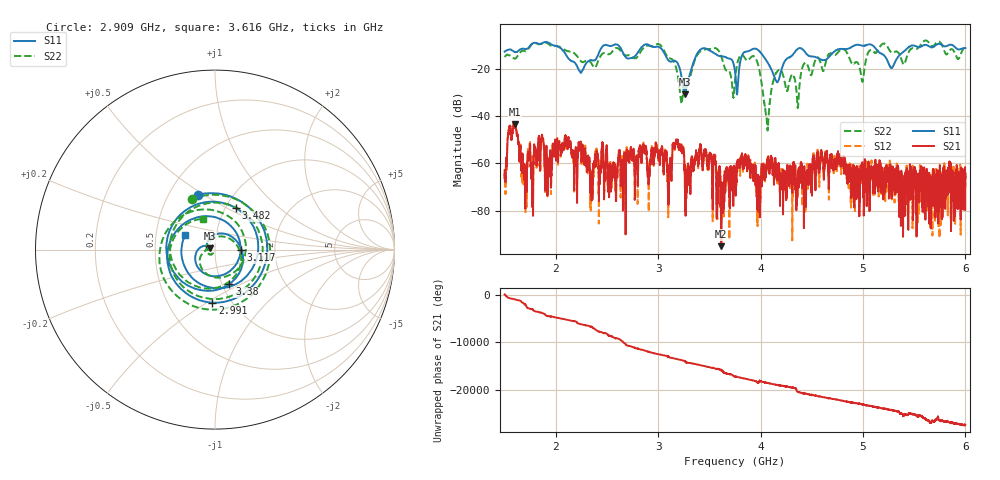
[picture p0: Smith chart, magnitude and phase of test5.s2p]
!Keysight Technologies N9923A: A.08.15
!Date: Monday, 19 February 2024 15:50:41
!Timezone: (GMT-05:00) Eastern Time (US & Canada)
!Model: N9923A
!Serial: MY52412730
!GPS Latitude:
!GPS Longitude:
!GPS TimeStamp: 0001-01-01 00:00:00Z
!GPS Seconds Since Last Read: 0
!CHECKSUM:0018903830
!Correction: S11(ON Q)S21(ON Q)S12(ON Q)S22(ON Q)
!S2P File: Measurements:S11,S21,S12,S22:
# Hz S DB R 50
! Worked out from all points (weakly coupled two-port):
!   4001 points, 1.5 GHz to 6 GHz, reference 50 ohm
!   highest |S21| = -43.41 dB at 1.601 GHz (marker M1); lowest = -95.0 dB at 3.616 GHz (marker M2)
!   lowest |S11| = -30.8 dB at 3.26 GHz (marker M3), VSWR 1.06, Z = 47.3 + j0.618 ohm
!   |S11| at or under -10 dB: 1.974 GHz to 2.47 GHz (495.4 MHz wide, 22.3 % of centre); 2.913 GHz to 4.919 GHz (2.007 GHz wide, 51.2 % of centre); 5.092 GHz to 5.592 GHz (499.7 MHz wide, 9.35 % of centre) (the widest 3 of 12)
!   |S22| runs from -46.1 to -8.0 dB; largest |S21 - S12| = 0.0011
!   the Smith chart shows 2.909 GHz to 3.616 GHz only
!   S11 on the Smith chart (normalised r, x): 2.909 GHz: 0.69, +0.47; 2.991 GHz: 0.82, -0.53; 3.117 GHz: 1.33, -0.01; 3.38 GHz: 1.08, -0.44; 3.482 GHz: 1.12, +0.55; 3.616 GHz: 0.71, +0.12
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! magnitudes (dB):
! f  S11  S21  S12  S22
! 1.5 GHz  -12.7  -64.6  -62.4  -15.0
! 1.601 GHz  -12.9  -43.4  -43.6  -15.7
! 1.694 GHz  -11.5  -65.4  -64.2  -12.3
! 1.851 GHz  -9.3  -56.6  -55.7  -9.5
! 2.25 GHz  -21.3  -59.1  -57.9  -16.9
! 2.355 GHz  -16.4  -68.6  -73.3  -18.2
! 2.909 GHz  -9.9  -66.3  -71.7  -10.2
! 2.991 GHz  -10.6  -54.5  -54.8  -9.5
! 3.001 GHz  -10.6  -56.1  -57.3  -9.5
! 3.117 GHz  -16.9  -63.2  -60.8  -15.5
! 3.174 GHz  -16.8  -49.9  -50.9  -19.4
! 3.26 GHz  -30.8  -65.2  -64.6  -28.1
! 3.38 GHz  -13.6  -57.2  -57.0  -14.3
! 3.482 GHz  -11.7  -60.2  -61.7  -11.6
! 3.616 GHz  -14.7  -95.0  -70.4  -14.7
! 3.75 GHz  -21.2  -66.0  -63.9  -24.7
! 3.942 GHz  -11.4  -60.6  -61.9  -15.0
! 4.063 GHz  -16.9  -59.9  -58.5  -43.2
! 4.165 GHz  -25.6  -67.3  -63.5  -20.9
! 4.5 GHz  -14.7  -68.2  -72.6  -22.2
! 5.251 GHz  -17.7  -68.3  -67.4  -11.5
! 6 GHz  -11.2  -66.5  -70.2  -10.6
